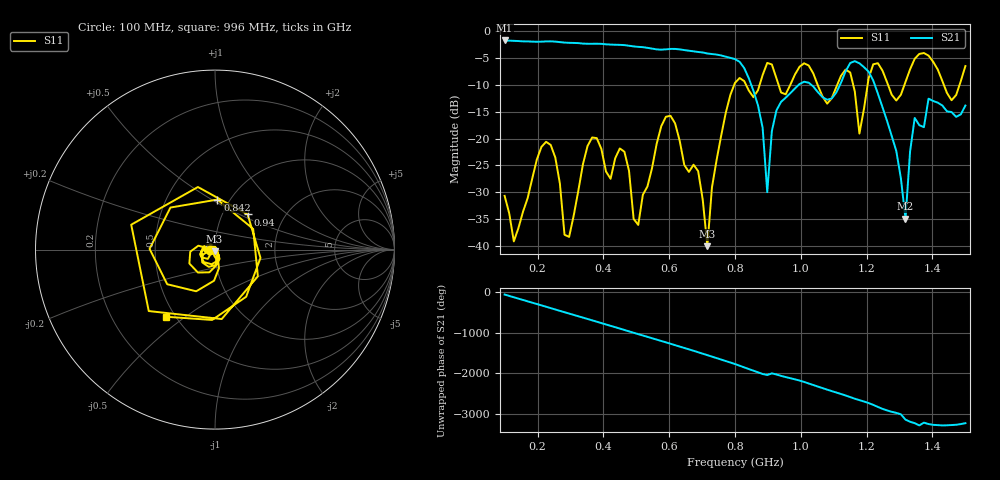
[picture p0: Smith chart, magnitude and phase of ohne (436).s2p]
! NanoVNA-App
! Date: 2025-09-25 14:24:11
! Start: 100MHz Stop: 1,5GHz Points: 101
! S-Parameter data: F S11 S21 S12 S22
# Hz S RI R 50
!  Frequency  S11_Real  S11_Imag  S21_Real  S21_Imag  S12_Real  S12_Imag  S22_Real  S22_Imag
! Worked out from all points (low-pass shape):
!   101 points, 100 MHz to 1.5 GHz, reference 50 ohm
!   highest |S21| = -1.79 dB at 100 MHz (marker M1); lowest = -34.9 dB at 1.318 GHz (marker M2)
!   |S21| within 3 dB of the highest: start of sweep to 771.2 MHz
!   lowest |S11| = -40.0 dB at 716 MHz (marker M3), VSWR 1.02, Z = 49.8 - j0.972 ohm
!   |S11| at or under -10 dB: start of sweep to 797.9 MHz; 833.3 MHz to 875.1 MHz (41.74 MHz wide, 4.89 % of centre); 1.051 GHz to 1.111 GHz (60.02 MHz wide, 5.55 % of centre) (the widest 3 of 7)
!   S12 and S22 are empty: the file has one direction only
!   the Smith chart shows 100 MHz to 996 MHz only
!   S11 on the Smith chart (normalised r, x): 100 MHz: 0.94, -0.01; 842 MHz: 0.88, +0.53; 940 MHz: 1.31, +0.55; 996 MHz: 0.45, -0.42
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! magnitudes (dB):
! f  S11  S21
! 100 MHz  -30.6  -1.8
! 128 MHz  -39.1  -1.9
! 226 MHz  -20.6  -2.0
! 296 MHz  -38.3  -2.2
! 338 MHz  -24.8  -2.4
! 464 MHz  -22.5  -2.7
! 506 MHz  -36.0  -3.0
! 576 MHz  -17.7  -3.5
! 688 MHz  -26.0  -3.9
! 716 MHz  -40.0  -4.2
! 800 MHz  -9.7  -5.2
! 842 MHz  -11.1  -8.8
! 898 MHz  -6.0  -30.0
! 940 MHz  -11.5  -13.2
! 996 MHz  -6.7  -9.9
! 1.038 GHz  -7.9  -10.3
! 1.178 GHz  -19.1  -6.0
! 1.22 GHz  -6.2  -9.2
! 1.276 GHz  -11.9  -19.5
! 1.318 GHz  -9.5  -34.9
! 1.346 GHz  -5.2  -16.2
! 1.5 GHz  -6.5  -13.9
